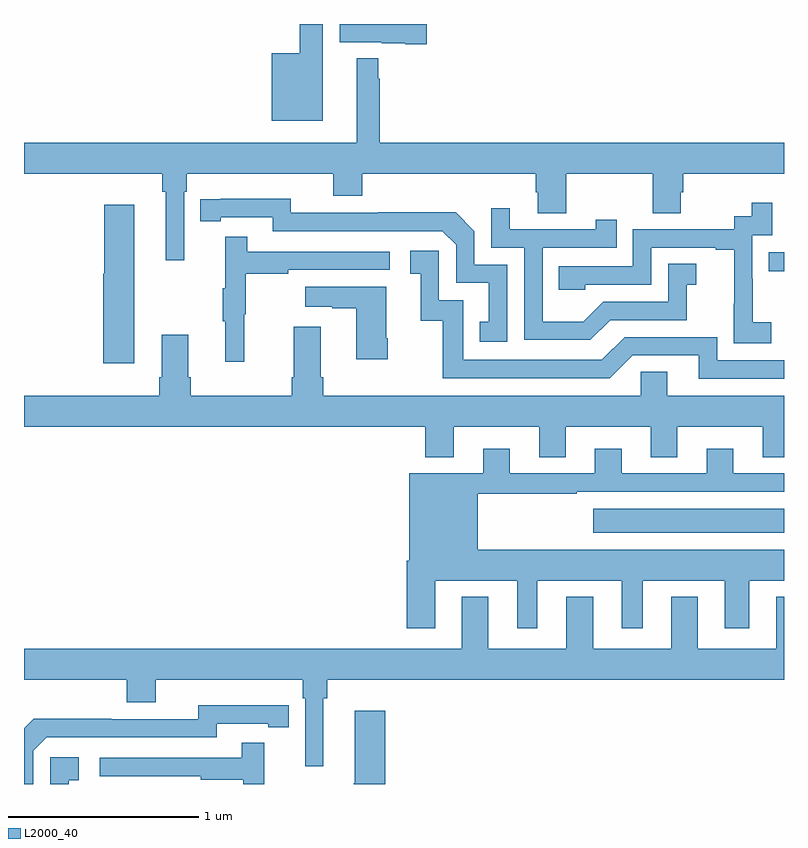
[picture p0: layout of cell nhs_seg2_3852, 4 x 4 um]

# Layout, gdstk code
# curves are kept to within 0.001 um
import gdstk
lib = gdstk.Library(unit=1e-6, precision=1e-09)
def R(c, l, rs):  # rectangles x0, y0, x1, y1
    for r in rs: c.add(gdstk.rectangle(r[:2], r[2:], *l))
def P(c, l, *ps):  # polygons
    for p in ps: c.add(gdstk.Polygon(p, *l))
L2000_40 = (2000, 40)

nhs_seg2_3852 = lib.new_cell('nhs_seg2_3852')
R(nhs_seg2_3852, L2000_40, [(317.997,603.122,319,603.25), (318.919,604.498,319,604.599)])
P(nhs_seg2_3852, L2000_40, [(316.573,605.8),(316.452,605.8),(316.452,605.647),(316.304,605.647),(316.304,605.291),(316.573,605.291)],
  [(317.119,605.8),(316.661,605.8),(316.661,605.705),(316.884,605.705),(316.884,605.699),(317.006,605.699),(317.006,605.693),(317.119,605.693)],
  [(316.873,605.513),(316.865,605.513),(316.865,605.62),(316.751,605.62),(316.751,605.176),(315,605.176),(315,605.012),(315.727,605.012),(315.727,604.916),(315.746,604.916),(315.746,604.557),(315.843,604.557),(315.843,604.916),(315.857,604.916),(315.857,605.012),(316.628,605.012),(316.628,604.895),(316.781,604.895),(316.781,605.012),(317.693,605.012),(317.693,604.914),(317.705,604.914),(317.705,604.804),(317.853,604.804),(317.853,605.012),(318.31,605.012),(318.31,604.804),(318.457,604.804),(318.457,604.914),(318.47,604.914),(318.47,605.012),(319,605.012),(319,605.176),(316.873,605.176)],
  [(317.544,604.533),(317.37,604.533),(317.37,604.71),(317.272,604.808),(316.864,604.808),(316.864,604.806),(316.404,604.806),(316.404,604.879),(315.928,604.878),(315.928,604.762),(316.036,604.762),(316.036,604.782),(316.308,604.782),(316.308,604.71),(317.202,604.71),(317.274,604.638),(317.274,604.437),(317.447,604.437),(317.447,604.233),(317.398,604.233),(317.398,604.128),(317.544,604.128)],
  [(318.934,604.231),(318.836,604.231),(318.836,604.46),(318.834,604.46),(318.834,604.689),(318.939,604.689),(318.939,604.858),(318.831,604.858),(318.831,604.788),(318.738,604.788),(318.738,604.719),(318.204,604.719),(318.204,604.524),(317.815,604.524),(317.815,604.401),(317.955,604.401),(317.955,604.428),(318.3,604.428),(318.3,604.623),(318.641,604.623),(318.641,604.611),(318.737,604.611),(318.737,604.327),(318.736,604.327),(318.736,604.121),(318.934,604.121)],
  [(315.58,604.849),(315.422,604.849),(315.422,604.485),(315.416,604.485),(315.416,604.014),(315.58,604.014)],
  [(318.085,604.242),(318.489,604.242),(318.489,604.427),(318.538,604.427),(318.538,604.537),(318.39,604.537),(318.39,604.338),(318.048,604.338),(317.944,604.234),(317.73,604.234),(317.73,604.623),(318.119,604.623),(318.119,604.771),(318.008,604.771),(318.008,604.719),(317.557,604.719),(317.557,604.831),(317.46,604.831),(317.46,604.623),(317.634,604.623),(317.634,604.137),(317.98,604.137)],
  [(316.16,604.272),(316.168,604.272),(316.168,604.486),(316.391,604.486),(316.391,604.506),(316.924,604.506),(316.924,604.602),(316.175,604.602),(316.175,604.681),(316.058,604.681),(316.058,604.409),(316.047,604.409),(316.047,604.235),(316.058,604.235),(316.058,604.023),(316.16,604.023)],
  [(319,604.029),(318.648,604.029),(318.648,604.152),(318.162,604.152),(318.042,604.032),(317.313,604.032),(317.313,604.347),(317.184,604.347),(317.184,604.606),(317.034,604.606),(317.034,604.485),(317.087,604.485),(317.087,604.239),(317.205,604.239),(317.205,603.936),(318.084,603.936),(318.204,604.056),(318.551,604.056),(318.551,603.933),(319,603.933)],
  [(316.914,604.147),(316.906,604.147),(316.906,604.417),(316.479,604.417),(316.479,604.313),(316.622,604.313),(316.622,604.303),(316.748,604.303),(316.748,604.035),(316.914,604.035)],
  [(317.851,603.68),(318.299,603.68),(318.299,603.52),(318.439,603.52),(318.439,603.68),(318.887,603.68),(318.887,603.52),(319,603.52),(319,603.844),(318.385,603.844),(318.385,603.971),(318.246,603.971),(318.246,603.844),(316.574,603.844),(316.574,603.94),(316.561,603.94),(316.561,604.207),(316.421,604.207),(316.421,603.94),(316.409,603.94),(316.409,603.844),(315.878,603.844),(315.878,603.94),(315.865,603.94),(315.865,604.165),(315.725,604.165),(315.725,603.94),(315.713,603.94),(315.713,603.844),(315,603.844),(315,603.68),(317.111,603.68),(317.111,603.521),(317.263,603.521),(317.263,603.68),(317.711,603.68),(317.711,603.52),(317.851,603.52)],
  [(317.164,602.87),(317.597,602.87),(317.597,602.619),(317.701,602.619),(317.701,602.87),(318.146,602.87),(318.146,602.619),(318.256,602.619),(318.256,602.87),(318.689,602.87),(318.689,602.619),(318.817,602.619),(318.817,602.87),(319,602.87),(319,603.034),(317.389,603.034),(317.389,603.327),(317.909,603.327),(317.909,603.339),(319,603.339),(319,603.435),(318.733,603.435),(318.733,603.565),(318.593,603.565),(318.593,603.435),(318.145,603.435),(318.145,603.565),(318.005,603.565),(318.005,603.435),(317.557,603.435),(317.557,603.565),(317.417,603.565),(317.417,603.436),(317.027,603.436),(317.027,602.974),(317.015,602.974),(317.015,602.619),(317.164,602.619)],
  [(316.576,602.252),(316.595,602.252),(316.595,602.348),(319,602.348),(319,602.785),(318.959,602.785),(318.959,602.512),(318.547,602.512),(318.547,602.785),(318.407,602.785),(318.407,602.512),(317.995,602.512),(317.995,602.785),(317.855,602.785),(317.855,602.512),(317.443,602.512),(317.443,602.785),(317.303,602.785),(317.303,602.512),(315,602.512),(315,602.348),(315.542,602.348),(315.542,602.231),(315.694,602.231),(315.694,602.348),(316.466,602.348),(316.466,602.252),(316.479,602.252),(316.479,601.893),(316.576,601.893)],
  [(315.048,601.974),(315.12,602.046),(316.014,602.046),(316.014,602.118),(316.286,602.118),(316.286,602.098),(316.394,602.098),(316.394,602.214),(315.918,602.215),(315.918,602.142),(315.458,602.142),(315.458,602.144),(315.05,602.144),(315,602.094),(315,601.8),(315.048,601.8)],
  [(316.901,602.185),(316.742,602.185),(316.742,601.805),(316.735,601.805),(316.735,601.8),(316.901,601.8)],
  [(316.265,602.017),(316.147,602.017),(316.147,601.938),(315.399,601.938),(315.399,601.842),(315.931,601.842),(315.931,601.822),(316.155,601.822),(316.155,601.8),(316.265,601.8)],
  [(315.236,601.821),(315.289,601.821),(315.289,601.942),(315.138,601.942),(315.138,601.8),(315.236,601.8)])

lib.write_gds('nhs_seg2_3852.gds')
